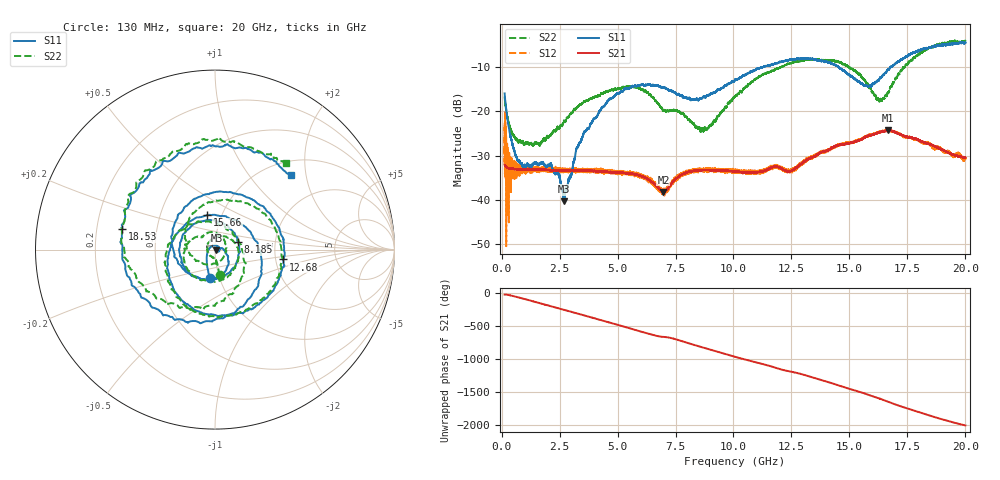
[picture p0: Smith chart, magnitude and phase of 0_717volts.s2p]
!Created with skrf (http://scikit-rf.org).
# GHz S RI R 50.0
!freq ReS11 ImS11 ReS21 ImS21 ReS12 ImS12 ReS22 ImS22
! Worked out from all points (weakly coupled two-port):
!   20013 points, 130 MHz to 20 GHz, reference 50 ohm
!   highest |S21| = -24.32 dB at 16.64 GHz (marker M1); lowest = -38.3 dB at 6.979 GHz (marker M2)
!   lowest |S11| = -40.3 dB at 2.691 GHz (marker M3), VSWR 1.02, Z = 50.8 - j0.507 ohm
!   |S11| at or under -10 dB: start of sweep to 11.28 GHz; 14.52241 GHz to 14.54193 GHz (19.52 MHz wide, 0.134 % of centre); 14.54 GHz to 16.77 GHz (2.223 GHz wide, 14.2 % of centre) (the widest 3 of 20)
!   |S22| runs from -27.8 to -4.0 dB; largest |S21 - S12| = 0.089
!   S11 on the Smith chart (normalised r, x): 130 MHz: 0.90, -0.29; 8.185 GHz: 1.29, +0.11; 12.68 GHz: 2.20, -0.28; 15.66 GHz: 0.85, +0.34; 18.53 GHz: 0.31, +0.10; 20 GHz: 1.31, +1.67
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0.13  -0.027 -0.1568  0.0212 -0.0129  -0.017 0.0675  0.0306 -0.1425
0.282  -0.0467 -0.0564  0.0182 -0.0136  0.0226 -0.00688  0.0102 -0.076
0.716  -0.022 0.0163  0.00661 -0.0213  0.00681 -0.0223  -0.00816 -0.0442
2.085  0.0231 -0.00993  -0.0198 0.00835  -0.0204 0.00825  -0.0325 0.0413
2.691  0.00821 -0.00499  -0.00346 0.0209  -0.00345 0.0217  0.0188 0.0751
3.442  0.0474 0.000567  0.0189 0.00983  0.0189 0.0102  0.1176 0.0229
4.953  0.0108 -0.1544  -0.0106 -0.0174  -0.0104 -0.0177  -0.0155 -0.1749
6.754  -0.1711 0.0922  0.00632 0.0122  0.00609 0.0119  -0.0972 0.0725
6.979  -0.1277 0.1364  0.00747 0.00965  0.00729 0.0105  -0.0744 0.0702
8.185  0.1276 0.042  0.0119 -0.0174  0.0121 -0.017  0.0485 0.0573
10.065  -0.2215 -0.044  -0.00814 0.0193  -0.00817 0.0196  -0.1451 -0.0155
11.418  0.0378 0.3219  0.0213 -0.00395  0.0215 -0.00392  -0.00417 0.2712
12.681  0.3802 -0.0548  -0.0134 -0.0184  -0.0129 -0.0181  0.3549 0.0758
13.377  0.2172 -0.3241  -0.0291 0.00671  -0.0297 0.00709  0.3184 -0.211
14.689  -0.2562 -0.143  0.0385 0.0178  0.0381 0.0176  -0.1809 -0.2935
15.661  -0.0439 0.1909  0.00882 -0.0498  0.00862 -0.0507  -0.1979 0.1066
16.642  0.26 -0.135  -0.0572 0.0206  -0.0565 0.02  0.1593 -0.02
16.689  0.2531 -0.1577  -0.0547 0.0261  -0.0547 0.0265  0.159 -0.0342
17.615  -0.196 -0.3877  0.0369 0.0343  0.037 0.034  -0.1722 -0.3189
18.527  -0.5171 0.1137  0.0217 -0.0358  0.0234 -0.0332  -0.5197 0.1097
19.278  -0.1422 0.548  -0.024 -0.024  -0.0242 -0.0249  -0.177 0.5645
20  0.43 0.4117  -0.0282 0.00988  -0.0279 0.00999  0.3999 0.4876
